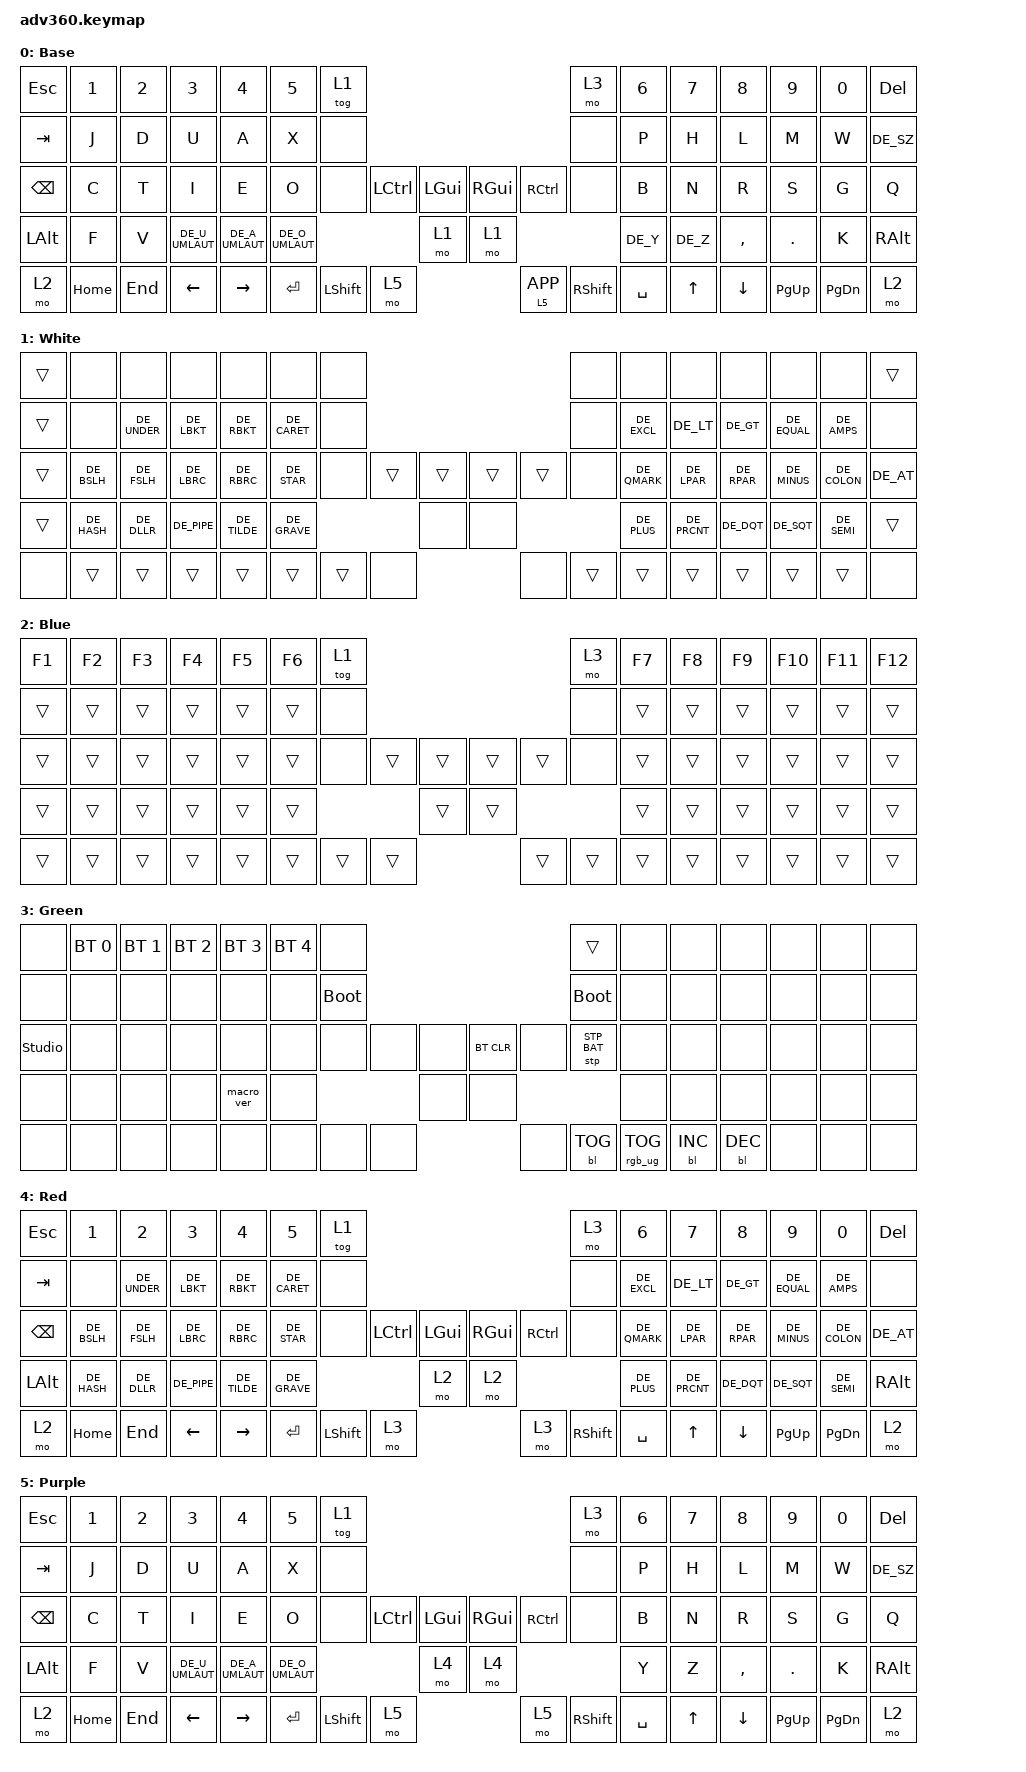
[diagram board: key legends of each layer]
#include <behaviors.dtsi>
#include <dt-bindings/zmk/keys.h>
#include <dt-bindings/zmk/bt.h>
#include <dt-bindings/zmk/rgb.h>
#include <dt-bindings/zmk/stp.h>
#include <dt-bindings/zmk/backlight.h>
#include <dt-bindings/zmk/pointing.h>
#include "keys_de.h"

/ {
    behaviors {
      #include "macros.dtsi"
      #include "version.dtsi"

      hm: homerow_mods {
          compatible = "zmk,behavior-hold-tap";
          label = "HOMEROW_MODS";
          #binding-cells = <2>;
          tapping-term-ms = <200>;
          quick_tap_ms = <175>;
          flavor = "tap-preferred";
          bindings = <&kp>, <&kp>;
      };
      lm: lm {
          compatible = "zmk,behavior-macro-two-param";
          wait-ms = <0>;
          tap-ms = <0>;
          #binding-cells = <2>;
          bindings
              = <&macro_param_1to1>
              , <&macro_press &mo MACRO_PLACEHOLDER>
              , <&macro_param_2to1>
              , <&macro_press &kp MACRO_PLACEHOLDER>
              , <&macro_pause_for_release>
              , <&macro_param_2to1>
              , <&macro_release &kp MACRO_PLACEHOLDER>
              , <&macro_param_1to1>
              , <&macro_release &mo MACRO_PLACEHOLDER>
              ;
      };
    };

    combos {
      compatible = "zmk,combos";
      combo_caps {
          timeout-ms = <50>;
          key-positions = <66 69>;
          bindings = <&kp CAPS>;
          layers = <0>;
      };
    };

  keymap {
    compatible = "zmk,keymap";

    default_layer {
      display-name = "Base";
      bindings = <
        &kp ESC  &kp N1   &kp N2   &kp N3          &kp N4          &kp N5          &tog 1                                                                &mo 3 &kp N6   &kp N7   &kp N8    &kp N9    &kp N0    &kp DEL
        &kp TAB  &kp J    &kp D    &kp U           &kp A           &kp X           &none                                                                 &none &kp P    &kp H    &kp L     &kp M     &kp W     &kp DE_SZ
        &kp BSPC &kp C    &kp T    &kp I           &kp E           &kp O           &none            &kp LCTRL &kp LGUI   &kp RGUI &kp RCTRL              &none &kp B    &kp N    &kp R     &kp S     &kp G     &kp Q
        &kp LALT &kp F    &kp V    &kp DE_U_UMLAUT &kp DE_A_UMLAUT &kp DE_O_UMLAUT                            &mo 1      &mo 1                                 &kp DE_Y &kp DE_Z &kp COMMA &kp DOT   &kp K     &kp RALT
        &mo 2    &kp HOME &kp END  &kp LEFT        &kp RIGHT                              &kp ENTER &kp LSHFT &mo 5      &lt 5 K_APP &kp RSHFT &kp SPACE                &kp UP   &kp DOWN  &kp PG_UP &kp PG_DN &mo 2
      >;
    };
    symbols {
      display-name = "White";
      bindings = <
        &trans  &none       &none        &none       &none        &none        &none                                                &none &none        &none        &none       &none        &none        &trans
        &trans  &none       &kp DE_UNDER &kp DE_LBKT &kp DE_RBKT  &kp DE_CARET &none                                                &none &kp DE_EXCL  &kp DE_LT    &kp DE_GT   &kp DE_EQUAL &kp DE_AMPS  &none
        &trans  &kp DE_BSLH &kp DE_FSLH  &kp DE_LBRC &kp DE_RBRC  &kp DE_STAR  &none          &trans &trans   &trans &trans         &none &kp DE_QMARK &kp DE_LPAR  &kp DE_RPAR &kp DE_MINUS &kp DE_COLON &kp DE_AT
        &trans  &kp DE_HASH &kp DE_DLLR  &kp DE_PIPE &kp DE_TILDE &kp DE_GRAVE                       &none    &none                       &kp DE_PLUS  &kp DE_PRCNT &kp DE_DQT  &kp DE_SQT   &kp DE_SEMI  &trans
        &none   &trans      &trans       &trans      &trans                            &trans &trans &none    &none &trans &trans                      &trans       &trans      &trans       &trans       &none
      >;
    };
    fn {
      display-name = "Blue";
      bindings = <
        &kp F1 &kp F2 &kp F3 &kp F4 &kp F5 &kp F6 &tog 1                                           &mo 3 &kp F7 &kp F8 &kp F9 &kp F10 &kp F11 &kp F12
        &trans &trans &trans &trans &trans &trans  &none                                           &none &trans &trans &trans &trans  &trans  &trans
        &trans &trans &trans &trans &trans &trans  &none        &trans &trans &trans &trans        &none &trans &trans &trans &trans  &trans  &trans
        &trans &trans &trans &trans &trans &trans                      &trans &trans                     &trans &trans &trans &trans  &trans  &trans
        &trans &trans &trans &trans &trans               &trans &trans &trans &trans &trans &trans              &trans &trans &trans  &trans  &trans
      >;
    };
    mod {
      display-name = "Green";
      bindings = <
        &none &bt BT_SEL 0 &bt BT_SEL 1 &bt BT_SEL 2 &bt BT_SEL 3 &bt BT_SEL 4 &none                                                                     &trans                 &none        &none        &none        &none &none &none
        &none &none        &none        &none        &none        &none        &bootloader                                                               &bootloader            &none        &none        &none        &none &none &none
        &studio_unlock &none        &none        &none        &none        &none        &none                   &none &none &bt BT_CLR &none                      &stp STP_BAT &none        &none        &none        &none &none &none
        &none &none        &none        &none        &macro_ver   &none                                      &none &none                                                        &none        &none        &none        &none &none &none
        &none &none        &none        &none        &none                                       &none &none &none &none      &bl BL_TOG &rgb_ug RGB_TOG                                     &bl BL_INC   &bl BL_DEC   &none &none &none
      >;
    };
    math { 
      display-name = "Red";    
      bindings = <
        &kp ESC  &kp N1   &kp N2   &kp N3          &kp N4          &kp N5          &tog 1                                                           &mo 3 &kp N6 &kp N7 &kp N8    &kp N9    &kp N0    &kp DEL
        &kp TAB  &none    &kp DE_UNDER    &kp DE_LBKT           &kp DE_RBKT           &kp DE_CARET           &none                                                            &none &kp DE_EXCL  &kp DE_LT  &kp DE_GT     &kp DE_EQUAL     &kp DE_AMPS     &none
        &kp BSPC &kp DE_BSLH    &kp DE_FSLH    &kp DE_LBRC          &kp DE_RBRC           &kp DE_STAR           &none            &kp LCTRL &kp LGUI &kp RGUI &kp RCTRL           &none &kp DE_QMARK  &kp DE_LPAR  &kp DE_RPAR     &kp DE_MINUS     &kp DE_COLON     &kp DE_AT
        &kp LALT &kp DE_HASH    &kp DE_DLLR    &kp DE_PIPE &kp DE_TILDE &kp DE_GRAVE                            &mo 2    &mo 2                              &kp DE_PLUS  &kp DE_PRCNT  &kp DE_DQT &kp DE_SQT   &kp DE_SEMI     &kp RALT
        &mo 2    &kp HOME &kp END  &kp LEFT        &kp RIGHT                              &kp ENTER &kp LSHFT &mo 3    &mo 3    &kp RSHFT &kp SPACE              &kp UP &kp DOWN  &kp PG_UP &kp PG_DN &mo 2
      >;
    };

    greek { 
      display-name = "Purple";    
      bindings = <
        &kp ESC  &kp N1   &kp N2   &kp N3          &kp N4          &kp N5          &tog 1                                                           &mo 3 &kp N6 &kp N7 &kp N8    &kp N9    &kp N0    &kp DEL
        &kp TAB  &kp J    &kp D    &kp U           &kp A           &kp X           &none                                                            &none &kp P  &kp H  &kp L     &kp M     &kp W     &kp DE_SZ
        &kp BSPC &kp C    &kp T    &kp I           &kp E           &kp O           &none            &kp LCTRL &kp LGUI &kp RGUI &kp RCTRL           &none &kp B  &kp N  &kp R     &kp S     &kp G     &kp Q
        &kp LALT &kp F    &kp V    &kp DE_U_UMLAUT &kp DE_A_UMLAUT &kp DE_O_UMLAUT                            &mo 4    &mo 4                              &kp Y  &kp Z  &kp COMMA &kp DOT   &kp K     &kp RALT
        &mo 2    &kp HOME &kp END  &kp LEFT        &kp RIGHT                              &kp ENTER &kp LSHFT &mo 5    &mo 5    &kp RSHFT &kp SPACE              &kp UP &kp DOWN  &kp PG_UP &kp PG_DN &mo 2
      >;
    };

    extra3 { 
      display-name = "Cyan";    
      status = "reserved";
    };

    extra4 { 
      display-name = "Yellow";    
      status = "reserved";
    };
  };
};
